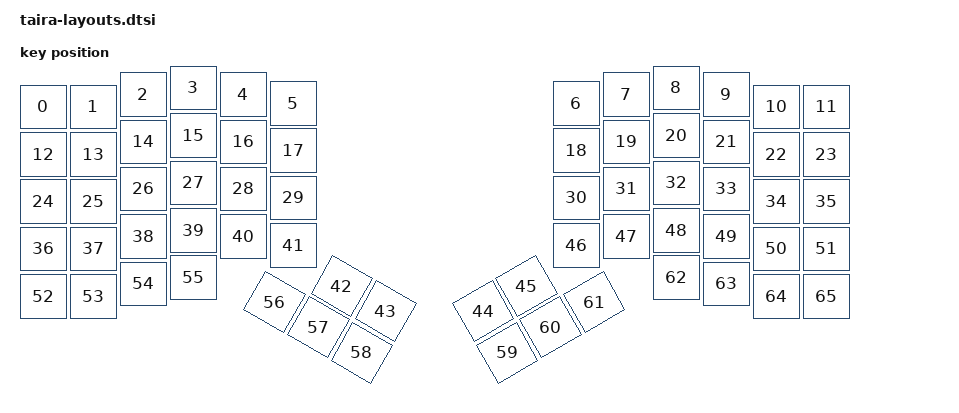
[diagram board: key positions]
/*
 * Copyright (c) 2020 The ZMK Contributors
 *
 * SPDX-License-Identifier: MIT
 */

#include <physical_layouts.dtsi>

// Key positions generated from the switch footprints in the upstream Taira PCB
// (strayer/taira-keyboard, pcb/tairakb.kicad_pcb): 19 mm column pitch, 18 mm row
// pitch, thumb cluster rotated 30 degrees. Keys are listed in keymap binding order.

/ {
    taira_physical_layout: taira_physical_layout {
        compatible = "zmk,physical-layout";
        display-name = "Default";

        keys                     //     w      h      x      y    rot     rx     ry
            = <&key_physical_attrs    100     95      0     38      0      0      0>
            , <&key_physical_attrs    100     95    100     38      0      0      0>
            , <&key_physical_attrs    100     95    200     13      0      0      0>
            , <&key_physical_attrs    100     95    300      0      0      0      0>
            , <&key_physical_attrs    100     95    400     13      0      0      0>
            , <&key_physical_attrs    100     95    500     31      0      0      0>
            , <&key_physical_attrs    100     95   1066     31      0      0      0>
            , <&key_physical_attrs    100     95   1166     13      0      0      0>
            , <&key_physical_attrs    100     95   1266      0      0      0      0>
            , <&key_physical_attrs    100     95   1366     13      0      0      0>
            , <&key_physical_attrs    100     95   1466     38      0      0      0>
            , <&key_physical_attrs    100     95   1566     38      0      0      0>
            , <&key_physical_attrs    100     95      0    133      0      0      0>
            , <&key_physical_attrs    100     95    100    133      0      0      0>
            , <&key_physical_attrs    100     95    200    108      0      0      0>
            , <&key_physical_attrs    100     95    300     95      0      0      0>
            , <&key_physical_attrs    100     95    400    108      0      0      0>
            , <&key_physical_attrs    100     95    500    125      0      0      0>
            , <&key_physical_attrs    100     95   1066    125      0      0      0>
            , <&key_physical_attrs    100     95   1166    108      0      0      0>
            , <&key_physical_attrs    100     95   1266     95      0      0      0>
            , <&key_physical_attrs    100     95   1366    108      0      0      0>
            , <&key_physical_attrs    100     95   1466    133      0      0      0>
            , <&key_physical_attrs    100     95   1566    133      0      0      0>
            , <&key_physical_attrs    100     95      0    227      0      0      0>
            , <&key_physical_attrs    100     95    100    227      0      0      0>
            , <&key_physical_attrs    100     95    200    202      0      0      0>
            , <&key_physical_attrs    100     95    300    190      0      0      0>
            , <&key_physical_attrs    100     95    400    202      0      0      0>
            , <&key_physical_attrs    100     95    500    220      0      0      0>
            , <&key_physical_attrs    100     95   1066    220      0      0      0>
            , <&key_physical_attrs    100     95   1166    202      0      0      0>
            , <&key_physical_attrs    100     95   1266    190      0      0      0>
            , <&key_physical_attrs    100     95   1366    202      0      0      0>
            , <&key_physical_attrs    100     95   1466    227      0      0      0>
            , <&key_physical_attrs    100     95   1566    227      0      0      0>
            , <&key_physical_attrs    100     95      0    322      0      0      0>
            , <&key_physical_attrs    100     95    100    322      0      0      0>
            , <&key_physical_attrs    100     95    200    297      0      0      0>
            , <&key_physical_attrs    100     95    300    285      0      0      0>
            , <&key_physical_attrs    100     95    400    297      0      0      0>
            , <&key_physical_attrs    100     95    500    315      0      0      0>
            , <&key_physical_attrs    100     95    598    397   3000    648    444>
            , <&key_physical_attrs    100     95    686    447   3000    736    494>
            , <&key_physical_attrs    100     95    880    447 (-3000)    930    494>
            , <&key_physical_attrs    100     95    967    397 (-3000)   1017    444>
            , <&key_physical_attrs    100     95   1066    315      0      0      0>
            , <&key_physical_attrs    100     95   1166    297      0      0      0>
            , <&key_physical_attrs    100     95   1266    285      0      0      0>
            , <&key_physical_attrs    100     95   1366    297      0      0      0>
            , <&key_physical_attrs    100     95   1466    322      0      0      0>
            , <&key_physical_attrs    100     95   1566    322      0      0      0>
            , <&key_physical_attrs    100     95      0    417      0      0      0>
            , <&key_physical_attrs    100     95    100    417      0      0      0>
            , <&key_physical_attrs    100     95    200    392      0      0      0>
            , <&key_physical_attrs    100     95    300    379      0      0      0>
            , <&key_physical_attrs    100     95    463    429   3000    513    476>
            , <&key_physical_attrs    100     95    551    479   3000    601    526>
            , <&key_physical_attrs    100     95    638    530   3000    688    577>
            , <&key_physical_attrs    100     95    928    530 (-3000)    978    577>
            , <&key_physical_attrs    100     95   1015    479 (-3000)   1065    526>
            , <&key_physical_attrs    100     95   1102    429 (-3000)   1152    476>
            , <&key_physical_attrs    100     95   1266    379      0      0      0>
            , <&key_physical_attrs    100     95   1366    392      0      0      0>
            , <&key_physical_attrs    100     95   1466    417      0      0      0>
            , <&key_physical_attrs    100     95   1566    417      0      0      0>
            ;
    };
};
